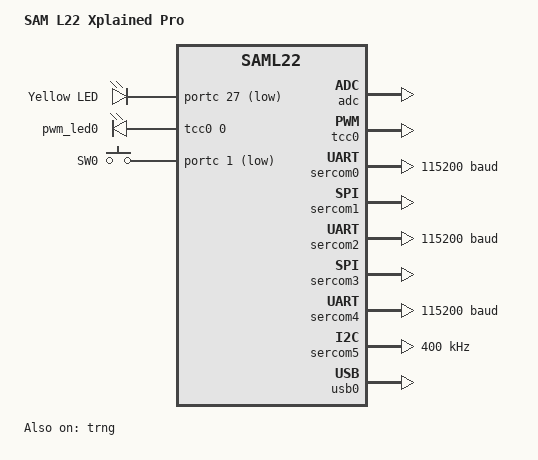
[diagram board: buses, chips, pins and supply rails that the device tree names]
/*
 * Copyright (c) 2021 Argentum Systems Ltd.
 * KBH 8/17/2023
 *
 * SPDX-License-Identifier: Apache-2.0
 */

/dts-v1/;
#include <atmel/saml22.dtsi>
#include "atsaml22_xpro-pinctrl.dtsi"
#include <zephyr/dt-bindings/input/input-event-codes.h>

/ {
	model = "SAM L22 Xplained Pro";
	compatible = "atsaml22,xpro", "atmel,saml22n18a", "atmel,saml22";

	chosen {
		zephyr,console = &sercom4;
		zephyr,shell-uart = &sercom4;
		zephyr,sram = &sram0;
		zephyr,flash = &flash0;
	};

	/* These aliases are provided for compatibility with samples */
	aliases {
		led0 = &led0;
		pwm-led0 = &pwm_led0;
		sw0 = &user_button;
	};

	leds {
		compatible = "gpio-leds";
		led0: led_0 {
			gpios = <&portc 27 GPIO_ACTIVE_LOW>;
			label = "Yellow LED";
		};
	};

	pwmleds {
		compatible = "pwm-leds";
		pwm_led0: pwm_led_0 {
			pwms = <&tcc0 0 PWM_MSEC(20)>;
		};
	};

	buttons {
		compatible = "gpio-keys";
		user_button: button_0 {
			gpios = <&portc 1 (GPIO_ACTIVE_LOW | GPIO_PULL_UP)>;
			label = "SW0";
			zephyr,code = <INPUT_KEY_0>;
		};
	};
};

&cpu0 {
	clock-frequency = <48000000>;
};

&trng {
	status = "okay";
};
		

&adc {
	status = "okay";
};

&tcc0 {
	status = "okay";
	compatible = "atmel,sam0-tcc-pwm";
	/* Gives a maximum period of 1.4s */
	prescaler = <4>;
	#pwm-cells = <2>;

	pinctrl-0 = <&tcc0_default>;
	pinctrl-names = "default";
};

&sercom0 {
	status = "okay";
	compatible = "atmel,sam0-uart";
	current-speed = <115200>;
	rxpo = <3>;
	txpo = <0>;

	pinctrl-0 = <&sercom0_default>;
	pinctrl-names = "default";
};

&sercom1 {
	status = "okay";
	compatible = "atmel,sam0-spi";
	dipo = <3>;
	dopo = <0>;
	#address-cells = <1>;
	#size-cells = <0>;

	cs-gpios = <&portc 7 GPIO_ACTIVE_LOW>;

	pinctrl-0 = <&sercom1_default>;
	pinctrl-names = "default";
};

&sercom2 {
	status = "okay";
	compatible = "atmel,sam0-uart";
	current-speed = <115200>;
	rxpo = <1>;
	txpo = <0>;

	pinctrl-0 = <&sercom2_default>;
	pinctrl-names = "default";
};

&sercom3 {
	status = "okay";
	compatible = "atmel,sam0-spi";
	dipo = <0>;
	dopo = <1>;
	#address-cells = <1>;
	#size-cells = <0>;
	pinctrl-0 = <&sercom3_default>;
	pinctrl-names = "default";
};

&sercom4 {
	status = "okay";
	compatible = "atmel,sam0-uart";
	current-speed = <115200>;
	rxpo = <3>;
	txpo = <1>;

	pinctrl-0 = <&sercom4_default>;
	pinctrl-names = "default";
};

&sercom5 {
	status = "okay";
	compatible = "atmel,sam0-i2c";
	clock-frequency = <I2C_BITRATE_FAST>;
	#address-cells = <1>;
	#size-cells = <0>;

	pinctrl-0 = <&sercom5_default>;
	pinctrl-names = "default";
};

zephyr_udc0: &usb0 {
	status = "okay";
};
